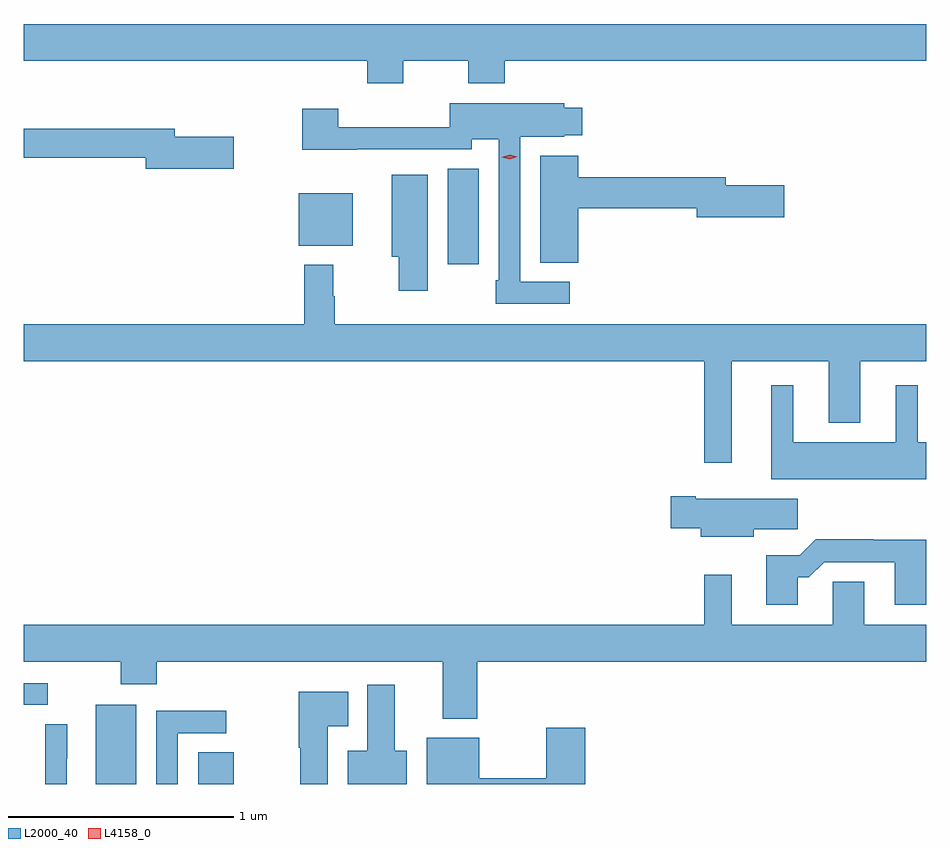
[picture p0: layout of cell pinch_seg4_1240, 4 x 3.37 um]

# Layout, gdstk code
import gdstk
lib = gdstk.Library(unit=1e-6, precision=1e-09)
def R(c, l, rs):  # rectangles x0, y0, x1, y1
    for r in rs: c.add(gdstk.rectangle(r[:2], r[2:], *l))
def P(c, l, *ps):  # polygons
    for p in ps: c.add(gdstk.Polygon(p, *l))
L2000_40 = (2000, 40)
L4158_0 = (4158, 0)

pinch_seg4_1240 = lib.new_cell('pinch_seg4_1240')
R(pinch_seg4_1240, L2000_40, [(233.054,752.322,233.233,752.674), (233.507,752.322,233.665,752.462), (232.735,752.673,232.84,752.769), (234.614,754.626,234.751,755.051), (233.954,754.709,234.193,754.942)])
P(pinch_seg4_1240, L2000_40, [(234.417,755.528),(234.706,755.528),(234.706,755.429),(234.866,755.429),(234.866,755.528),(236.735,755.528),(236.735,755.692),(232.735,755.692),(232.735,755.528),(234.257,755.528),(234.257,755.429),(234.417,755.429)],
  [(235.156,754.548),(234.936,754.548),(234.936,755.192),(235.131,755.192),(235.131,755.198),(235.21,755.198),(235.21,755.32),(235.131,755.32),(235.131,755.341),(234.624,755.341),(234.624,755.234),(234.128,755.234),(234.128,755.317),(233.968,755.317),(233.968,755.135),(234.211,755.135),(234.211,755.136),(234.72,755.136),(234.72,755.18),(234.84,755.18),(234.84,754.555),(234.828,754.555),(234.828,754.452),(235.156,754.452)],
  [(233.665,755.193),(233.404,755.193),(233.404,755.227),(232.735,755.227),(232.735,755.098),(233.276,755.098),(233.276,755.051),(233.665,755.051)],
  [(235.192,754.876),(235.718,754.876),(235.718,754.834),(236.107,754.834),(236.107,754.976),(235.846,754.976),(235.846,755.012),(235.192,755.012),(235.192,755.107),(235.025,755.107),(235.025,754.633),(235.192,754.633)],
  [(234.526,755.023),(234.365,755.023),(234.365,754.661),(234.397,754.661),(234.397,754.509),(234.526,754.509)],
  [(234.113,754.484),(234.106,754.484),(234.106,754.624),(233.977,754.624),(233.977,754.36),(232.735,754.36),(232.735,754.196),(235.752,754.196),(235.752,753.747),(235.873,753.747),(235.873,754.196),(236.303,754.196),(236.303,753.923),(236.443,753.923),(236.443,754.196),(236.735,754.196),(236.735,754.36),(234.113,754.36)],
  [(236.735,753.838),(236.698,753.838),(236.698,754.09),(236.6,754.09),(236.6,753.838),(236.146,753.838),(236.146,754.09),(236.048,754.09),(236.048,753.674),(236.735,753.674)],
  [(235.972,753.451),(236.167,753.451),(236.167,753.586),(235.714,753.586),(235.714,753.599),(235.602,753.599),(235.602,753.457),(235.736,753.457),(235.736,753.419),(235.972,753.419)],
  [(236.167,753.239),(236.216,753.239),(236.283,753.306),(236.597,753.306),(236.597,753.117),(236.735,753.117),(236.735,753.404),(236.501,753.404),(236.501,753.407),(236.246,753.407),(236.176,753.337),(236.027,753.337),(236.027,753.117),(236.167,753.117)],
  [(234.746,752.864),(236.735,752.864),(236.735,753.028),(236.461,753.028),(236.461,753.218),(236.322,753.218),(236.322,753.028),(235.873,753.028),(235.873,753.25),(235.752,753.25),(235.752,753.028),(232.735,753.028),(232.735,752.864),(233.164,752.864),(233.164,752.765),(233.324,752.765),(233.324,752.864),(234.593,752.864),(234.593,752.612),(234.746,752.612)],
  [(234.433,752.47),(234.379,752.47),(234.379,752.761),(234.257,752.761),(234.257,752.47),(234.17,752.47),(234.17,752.322),(234.433,752.322)],
  [(234.082,752.579),(234.172,752.579),(234.172,752.731),(233.953,752.731),(233.953,752.483),(233.96,752.483),(233.96,752.322),(234.082,752.322)],
  [(233.418,752.547),(233.632,752.547),(233.632,752.646),(233.322,752.646),(233.322,752.322),(233.418,752.322)],
  [(232.925,752.434),(232.926,752.434),(232.926,752.588),(232.83,752.588),(232.83,752.322),(232.925,752.322)],
  [(235.223,752.572),(235.052,752.572),(235.052,752.348),(234.754,752.348),(234.754,752.527),(234.521,752.527),(234.521,752.322),(235.223,752.322)])
P(pinch_seg4_1240, L4158_0, [(234.888,755.092),(234.853,755.101),(234.853,755.101),(234.853,755.101),(234.888,755.112),(234.923,755.104),(234.923,755.104),(234.923,755.104)])

lib.write_gds('pinch_seg4_1240.gds')
